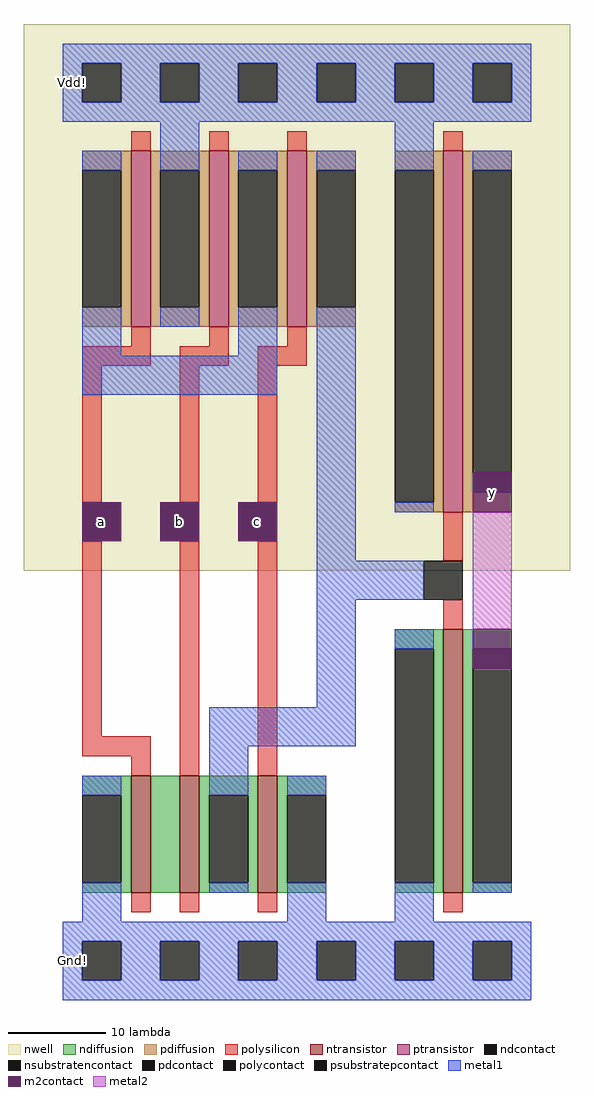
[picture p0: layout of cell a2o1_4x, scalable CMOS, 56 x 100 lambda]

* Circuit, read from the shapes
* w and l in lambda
.subckt a2o1_4x Gnd! Vdd! a b c y
M1 n1 a Gnd! Gnd! nfet w=12 l=2
M2 n2 b n1 Gnd! nfet w=12 l=2
M3 Gnd! c n2 Gnd! nfet w=12 l=2
M4 y n2 Gnd! Gnd! nfet w=27 l=2
M5 Vdd! a n3 Vdd! pfet w=18 l=2
M6 n3 b Vdd! Vdd! pfet w=18 l=2
M7 n2 c n3 Vdd! pfet w=18 l=2
M8 y n2 Vdd! Vdd! pfet w=37 l=2
.ends

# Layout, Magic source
magic
tech scmos
<< nwell >>
rect -6 40 50 96
<< ntransistor >>
rect 5 7 7 19
rect 10 7 12 19
rect 18 7 20 19
rect 37 7 39 34
<< ptransistor >>
rect 5 65 7 83
rect 13 65 15 83
rect 21 65 23 83
rect 37 46 39 83
<< ndiffusion >>
rect 32 32 37 34
rect 0 17 5 19
rect 4 8 5 17
rect 0 7 5 8
rect 7 7 10 19
rect 12 17 18 19
rect 12 8 13 17
rect 17 8 18 17
rect 12 7 18 8
rect 20 17 25 19
rect 20 8 21 17
rect 20 7 25 8
rect 36 8 37 32
rect 32 7 37 8
rect 39 32 44 34
rect 39 8 40 32
rect 39 7 44 8
<< pdiffusion >>
rect 0 81 5 83
rect 4 67 5 81
rect 0 65 5 67
rect 7 81 13 83
rect 7 67 8 81
rect 12 67 13 81
rect 7 65 13 67
rect 15 81 21 83
rect 15 67 16 81
rect 20 67 21 81
rect 15 65 21 67
rect 23 81 28 83
rect 23 67 24 81
rect 23 65 28 67
rect 32 81 37 83
rect 36 47 37 81
rect 32 46 37 47
rect 39 81 44 83
rect 39 48 40 81
rect 39 46 44 48
<< ndcontact >>
rect 0 8 4 17
rect 13 8 17 17
rect 21 8 25 17
rect 32 8 36 32
rect 40 8 44 32
<< pdcontact >>
rect 0 67 4 81
rect 8 67 12 81
rect 16 67 20 81
rect 24 67 28 81
rect 32 47 36 81
rect 40 48 44 81
<< psubstratepcontact >>
rect 0 -2 4 2
rect 8 -2 12 2
rect 16 -2 20 2
rect 24 -2 28 2
rect 32 -2 36 2
rect 40 -2 44 2
<< nsubstratencontact >>
rect 0 88 4 92
rect 8 88 12 92
rect 16 88 20 92
rect 24 88 28 92
rect 32 88 36 92
rect 40 88 44 92
<< polysilicon >>
rect 5 83 7 85
rect 13 83 15 85
rect 21 83 23 85
rect 37 83 39 85
rect 5 63 7 65
rect 13 63 15 65
rect 21 63 23 65
rect 0 61 7 63
rect 10 61 15 63
rect 18 61 23 63
rect 0 47 2 61
rect 10 47 12 61
rect 18 47 20 61
rect 0 23 2 43
rect 0 21 7 23
rect 5 19 7 21
rect 10 19 12 43
rect 18 19 20 43
rect 37 41 39 46
rect 37 34 39 37
rect 5 5 7 7
rect 10 5 12 7
rect 18 5 20 7
rect 37 5 39 7
<< polycontact >>
rect 0 43 4 47
rect 8 43 12 47
rect 16 43 20 47
rect 35 37 39 41
<< metal1 >>
rect -2 92 46 94
rect -2 88 0 92
rect 4 88 8 92
rect 12 88 16 92
rect 20 88 24 92
rect 28 88 32 92
rect 36 88 40 92
rect 44 88 46 92
rect -2 86 46 88
rect 0 81 4 83
rect 0 62 4 67
rect 8 81 12 86
rect 8 65 12 67
rect 16 81 20 83
rect 16 62 20 67
rect 0 58 20 62
rect 24 81 28 83
rect 24 41 28 67
rect 32 81 36 86
rect 32 46 36 47
rect 40 81 44 83
rect 24 37 35 41
rect 24 26 28 37
rect 13 22 28 26
rect 32 32 36 34
rect 0 17 4 19
rect 0 4 4 8
rect 13 17 17 22
rect 13 7 17 8
rect 21 17 25 19
rect 21 4 25 8
rect 32 4 36 8
rect 40 7 44 8
rect -2 2 46 4
rect -2 -2 0 2
rect 4 -2 8 2
rect 12 -2 16 2
rect 20 -2 24 2
rect 28 -2 32 2
rect 36 -2 40 2
rect 44 -2 46 2
rect -2 -4 46 -2
<< m2contact >>
rect 0 43 4 47
rect 8 43 12 47
rect 16 43 20 47
rect 40 48 44 50
rect 40 46 44 48
rect 40 32 44 34
rect 40 30 44 32
<< metal2 >>
rect 40 34 44 46
<< labels >>
rlabel m2contact 2 45 2 45 1 a
rlabel m2contact 10 45 10 45 1 b
rlabel m2contact 18 45 18 45 1 c
rlabel m2contact 42 48 42 48 1 y
rlabel metal1 -1 90 -1 90 3 Vdd!
rlabel metal1 -1 0 -1 0 3 Gnd!
<< end >>
